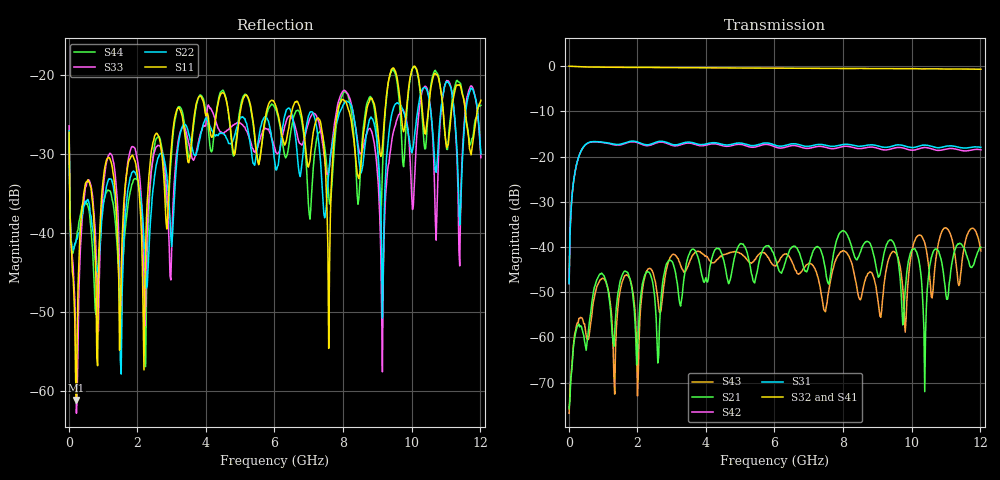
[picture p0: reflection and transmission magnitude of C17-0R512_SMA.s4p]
! MARKI MICROWAVE INC.
! Email:  support@markimicrowave.com  Phone:  408-778-4200
! Model Number:  C17-0R512  Date:  04/16
! Filename:		C17_0R512_SMA.S4P  Version: 1.0
! Description:  4-port S-parameter data for Directional Coupler C17-0R512 with SMA connectors on all ports
! Frequency Range: 	10 MHz to 12 GHz
! Port Configuration:	PORT 1: Input
!  PORT 2: Isolated
!  Port 3: Coupled
!  Port 4: Output
! S4P File: Measurements: Mag<S11> Ang<S11> Mag<S12> Ang<S12> Mag<S13> Ang<S13> Mag<S14> Ang<S14>! row 1
!  Mag<S21> Ang<S21> Mag<S22> Ang<S22> Mag<S23> Ang<S23> Mag<S24> Ang<S24>! row 2
!  Mag<S31> Ang<S31> Mag<S32> Ang<S32> Mag<S33> Ang<S33> Mag<S34> Ang<S34>! row 3
!  Mag<S41> Ang<S41> Mag<S42> Ang<S42> Mag<S43> Ang<S43> Mag<S44> Ang<S44>! row 4
# Hz S  dB  R 50
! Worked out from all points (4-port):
!   507 points, 10 MHz to 12.02 GHz, reference 50 ohm
!   strongest paths, dB at 10 MHz, 3.001 GHz, 6.016 GHz, 9.03 GHz, 12.02 GHz:
!     S32: 0.0, -0.3, -0.4, -0.5, -0.7
!     S41: 0.0, -0.3, -0.5, -0.6, -0.7
!     S31: -48.1, -17.3, -17.5, -17.7, -18.0
!     S42: -48.1, -17.5, -17.9, -18.2, -18.5
!     S21: -75.8, -43.1, -42.3, -46.7, -40.1
!     S43: -76.8, -41.9, -44.2, -52.5, -40.9
!   lowest |S11| = -61.1 dB at 223.6 MHz (marker M1), VSWR 1.00, Z = 49.9 + j0.0462 ohm
!   |S11| at or under -10 dB: start of sweep to end of sweep
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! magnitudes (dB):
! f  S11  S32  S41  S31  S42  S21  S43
! 10 MHz  -27.3  0.0  0.0  -48.1  -48.1  -75.8  -76.8
! 223.6 MHz  -61.1  -0.1  -0.1  -21.9  -21.9  -58.2  -57.4
! 1.197 GHz  -30.6  -0.3  -0.3  -17.1  -17.2  -52.4  -51.6
! 2.194 GHz  -57.3  -0.3  -0.3  -17.3  -17.5  -46.8  -47.4
! 3.191 GHz  -24.2  -0.3  -0.4  -17.3  -17.6  -49.8  -42.6
! 7.582 GHz  -54.6  -0.5  -0.5  -17.7  -18.2  -48.2  -49.7
! 12.02 GHz  -23.2  -0.7  -0.7  -18.0  -18.5  -40.1  -40.9
